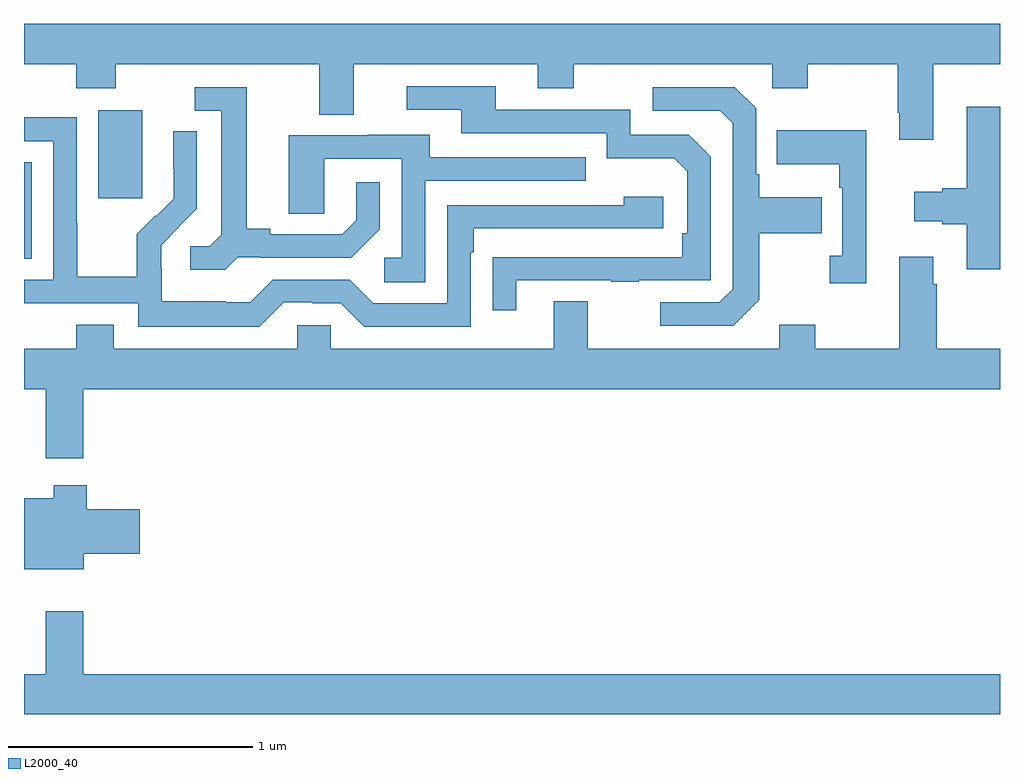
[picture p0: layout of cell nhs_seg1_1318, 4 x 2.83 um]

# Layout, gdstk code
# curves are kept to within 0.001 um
import gdstk
lib = gdstk.Library(unit=1e-6, precision=1e-09)
def R(c, l, rs):  # rectangles x0, y0, x1, y1
    for r in rs: c.add(gdstk.rectangle(r[:2], r[2:], *l))
def P(c, l, *ps):  # polygons
    for p in ps: c.add(gdstk.Polygon(p, *l))
L2000_40 = (2000, 40)

nhs_seg1_1318 = lib.new_cell('nhs_seg1_1318')
R(nhs_seg1_1318, L2000_40, [(183,528.289,183.031,528.686), (183.305,528.537,183.484,528.898)])
P(nhs_seg1_1318, L2000_40, [(186.727,529.088),(187,529.088),(187,529.252),(183,529.252),(183,529.088),(183.215,529.088),(183.215,528.989),(183.375,528.989),(183.375,529.088),(184.211,529.088),(184.211,528.88),(184.351,528.88),(184.351,529.088),(185.105,529.088),(185.105,528.989),(185.253,528.989),(185.253,529.088),(186.066,529.088),(186.066,528.989),(186.213,528.989),(186.213,529.088),(186.58,529.088),(186.58,528.889),(186.587,528.889),(186.587,528.777),(186.727,528.777)],
  [(185.017,528.201),(185.407,528.201),(185.407,528.196),(185.519,528.196),(185.519,528.201),(185.814,528.201),(185.814,528.708),(185.724,528.798),(185.484,528.798),(185.484,528.9),(184.933,528.9),(184.933,528.996),(184.569,528.996),(184.569,528.9),(184.793,528.9),(184.793,528.804),(185.388,528.804),(185.388,528.701),(185.665,528.701),(185.718,528.648),(185.718,528.394),(185.698,528.394),(185.698,528.297),(184.921,528.296),(184.921,528.078),(185.017,528.078)],
  [(186.013,528.121),(186.013,528.394),(186.269,528.394),(186.269,528.541),(186.013,528.541),(186.013,528.637),(186,528.637),(186,528.906),(185.913,528.993),(185.577,528.993),(185.577,528.897),(185.853,528.897),(185.904,528.846),(185.904,528.165),(185.85,528.111),(185.607,528.111),(185.607,528.015),(185.907,528.015)],
  [(183.876,528.297),(183.97,528.297),(183.97,528.294),(184.342,528.294),(184.458,528.41),(184.458,528.604),(184.361,528.604),(184.361,528.447),(184.304,528.39),(184.009,528.39),(184.009,528.413),(183.913,528.413),(183.913,528.993),(183.699,528.993),(183.699,528.897),(183.809,528.897),(183.809,528.389),(183.762,528.342),(183.681,528.342),(183.681,528.245),(183.824,528.245)],
  [(187,528.913),(186.863,528.913),(186.863,528.578),(186.764,528.578),(186.764,528.565),(186.648,528.565),(186.648,528.443),(186.764,528.443),(186.764,528.431),(186.863,528.431),(186.863,528.246),(187,528.246)],
  [(184.065,528.111),(184.181,528.111),(184.181,528.108),(184.299,528.108),(184.395,528.012),(184.83,528.012),(184.83,528.317),(184.843,528.317),(184.843,528.414),(185.62,528.414),(185.62,528.544),(185.459,528.544),(185.459,528.51),(184.734,528.51),(184.734,528.108),(184.431,528.108),(184.335,528.204),(184.02,528.204),(183.927,528.111),(183.827,528.111),(183.827,528.115),(183.564,528.115),(183.564,528.249),(183.562,528.249),(183.562,528.346),(183.708,528.494),(183.708,528.812),(183.612,528.812),(183.612,528.658),(183.614,528.658),(183.614,528.536),(183.543,528.465),(183.54,528.468),(183.463,528.391),(183.463,528.217),(183.219,528.217),(183.219,528.44),(183.216,528.44),(183.216,528.87),(183,528.87),(183,528.771),(183.12,528.771),(183.12,528.204),(183,528.204),(183,528.108),(183.468,528.108),(183.468,528.011),(183.965,528.011)],
  [(186.452,528.817),(186.085,528.817),(186.085,528.677),(186.342,528.677),(186.342,528.581),(186.354,528.581),(186.354,528.302),(186.303,528.302),(186.303,528.189),(186.452,528.189)],
  [(184.644,528.609),(185.303,528.609),(185.303,528.705),(184.663,528.705),(184.663,528.799),(184.409,528.799),(184.409,528.795),(184.085,528.795),(184.085,528.475),(184.23,528.475),(184.23,528.699),(184.548,528.699),(184.548,528.294),(184.476,528.294),(184.476,528.193),(184.644,528.193)],
  [(183.242,527.756),(187,527.756),(187,527.92),(186.74,527.92),(186.74,528.185),(186.727,528.185),(186.727,528.298),(186.587,528.298),(186.587,527.92),(186.243,527.92),(186.243,528.019),(186.095,528.019),(186.095,527.92),(185.311,527.92),(185.311,528.115),(185.171,528.115),(185.171,527.92),(184.257,527.92),(184.257,528.018),(184.119,528.018),(184.119,527.92),(183.367,527.92),(183.367,528.019),(183.215,528.019),(183.215,527.92),(183,527.92),(183,527.756),(183.089,527.756),(183.089,527.472),(183.242,527.472)],
  [(183.244,527.081),(183.475,527.081),(183.475,527.264),(183.257,527.264),(183.257,527.362),(183.122,527.362),(183.122,527.308),(183,527.308),(183,527.018),(183.244,527.018)],
  [(187,526.588),(183.242,526.588),(183.242,526.846),(183.089,526.846),(183.089,526.588),(183,526.588),(183,526.424),(187,526.424)])

lib.write_gds('nhs_seg1_1318.gds')
